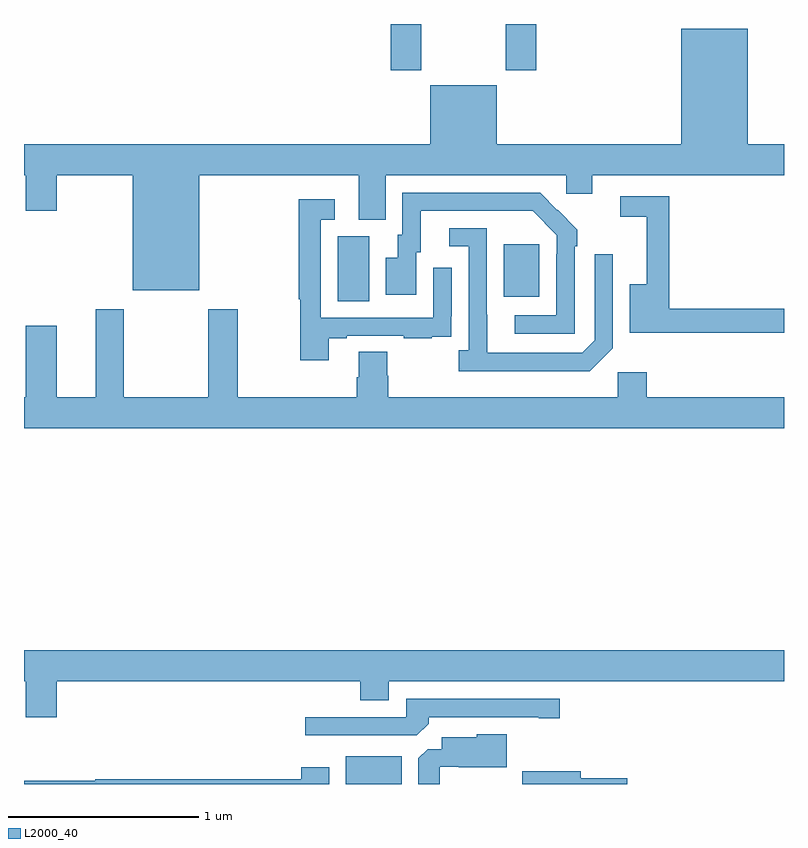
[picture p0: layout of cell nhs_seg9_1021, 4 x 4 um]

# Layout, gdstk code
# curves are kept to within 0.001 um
import gdstk
lib = gdstk.Library(unit=1e-6, precision=1e-09)
def R(c, l, rs):  # rectangles x0, y0, x1, y1
    for r in rs: c.add(gdstk.rectangle(r[:2], r[2:], *l))
def P(c, l, *ps):  # polygons
    for p in ps: c.add(gdstk.Polygon(p, *l))
L2000_40 = (2000, 40)

nhs_seg9_1021 = lib.new_cell('nhs_seg9_1021')
R(nhs_seg9_1021, L2000_40, [(166.694,1242.5,166.987,1242.646), (166.652,1245.04,166.816,1245.384), (167.525,1245.065,167.713,1245.34), (166.931,1246.257,167.091,1246.5), (167.536,1246.257,167.696,1246.5)])
P(nhs_seg9_1021, L2000_40, [(165.922,1245.704),(166.763,1245.704),(166.763,1245.469),(166.903,1245.469),(166.903,1245.704),(167.853,1245.704),(167.853,1245.606),(167.992,1245.606),(167.992,1245.704),(169,1245.704),(169,1245.868),(168.808,1245.868),(168.808,1246.474),(168.458,1246.474),(168.458,1245.868),(167.488,1245.868),(167.488,1246.177),(167.138,1246.177),(167.138,1245.868),(165,1245.868),(165,1245.704),(165.008,1245.704),(165.008,1245.516),(165.172,1245.516),(165.172,1245.704),(165.572,1245.704),(165.572,1245.098),(165.922,1245.098)],
  [(167.898,1245.329),(167.913,1245.329),(167.913,1245.417),(167.716,1245.612),(166.992,1245.612),(166.992,1245.39),(166.967,1245.39),(166.967,1245.271),(166.904,1245.271),(166.904,1245.075),(167.065,1245.075),(167.065,1245.3),(167.089,1245.3),(167.089,1245.516),(167.677,1245.516),(167.805,1245.387),(167.805,1245.287),(167.802,1245.287),(167.802,1244.967),(167.583,1244.967),(167.583,1244.871),(167.898,1244.871)],
  [(169,1245.002),(168.395,1245.002),(168.395,1245.594),(168.138,1245.594),(168.138,1245.486),(168.278,1245.486),(168.278,1245.13),(168.188,1245.13),(168.188,1244.874),(169,1244.874)],
  [(166.603,1244.847),(166.699,1244.847),(166.699,1244.859),(166.999,1244.859),(166.999,1244.847),(167.147,1244.847),(167.147,1244.853),(167.249,1244.853),(167.249,1244.962),(167.25,1244.962),(167.25,1245.217),(167.154,1245.217),(167.154,1244.955),(166.563,1244.955),(166.563,1245.471),(166.636,1245.471),(166.636,1245.577),(166.447,1245.577),(166.447,1245.052),(166.455,1245.052),(166.455,1244.73),(166.603,1244.73)],
  [(168.099,1244.793),(168.099,1245.289),(168.003,1245.289),(168.003,1244.835),(167.937,1244.769),(167.437,1244.769),(167.436,1245.426),(167.238,1245.426),(167.238,1245.33),(167.34,1245.33),(167.34,1244.782),(167.289,1244.782),(167.289,1244.672),(167.978,1244.672)],
  [(169,1244.536),(168.278,1244.536),(168.278,1244.668),(168.126,1244.668),(168.126,1244.536),(166.916,1244.536),(166.916,1244.649),(166.911,1244.649),(166.911,1244.774),(166.763,1244.774),(166.763,1244.642),(166.751,1244.642),(166.751,1244.536),(166.125,1244.536),(166.125,1244.998),(165.97,1244.998),(165.97,1244.536),(165.525,1244.536),(165.525,1244.998),(165.377,1244.998),(165.377,1244.536),(165.172,1244.536),(165.172,1244.911),(165.008,1244.911),(165.008,1244.536),(165,1244.536),(165,1244.372),(169,1244.372)],
  [(165.172,1243.04),(166.769,1243.04),(166.769,1242.941),(166.921,1242.941),(166.921,1243.04),(169,1243.04),(169,1243.204),(165,1243.204),(165,1243.04),(165.008,1243.04),(165.008,1242.852),(165.172,1242.852)],
  [(167.129,1242.818),(167.129,1242.852),(167.708,1242.852),(167.708,1242.847),(167.821,1242.847),(167.821,1242.948),(167.013,1242.948),(167.013,1242.852),(166.479,1242.852),(166.479,1242.756),(167.067,1242.756)],
  [(167.187,1242.591),(167.287,1242.591),(167.287,1242.587),(167.542,1242.587),(167.542,1242.763),(167.382,1242.763),(167.382,1242.745),(167.198,1242.745),(167.198,1242.684),(167.124,1242.684),(167.075,1242.635),(167.075,1242.5),(167.187,1242.5)],
  [(166.606,1242.589),(166.46,1242.589),(166.46,1242.524),(165.376,1242.524),(165.376,1242.517),(165,1242.517),(165,1242.5),(166.606,1242.5)],
  [(168.175,1242.53),(167.929,1242.53),(167.929,1242.568),(167.622,1242.568),(167.622,1242.5),(168.175,1242.5)])

lib.write_gds('nhs_seg9_1021.gds')
